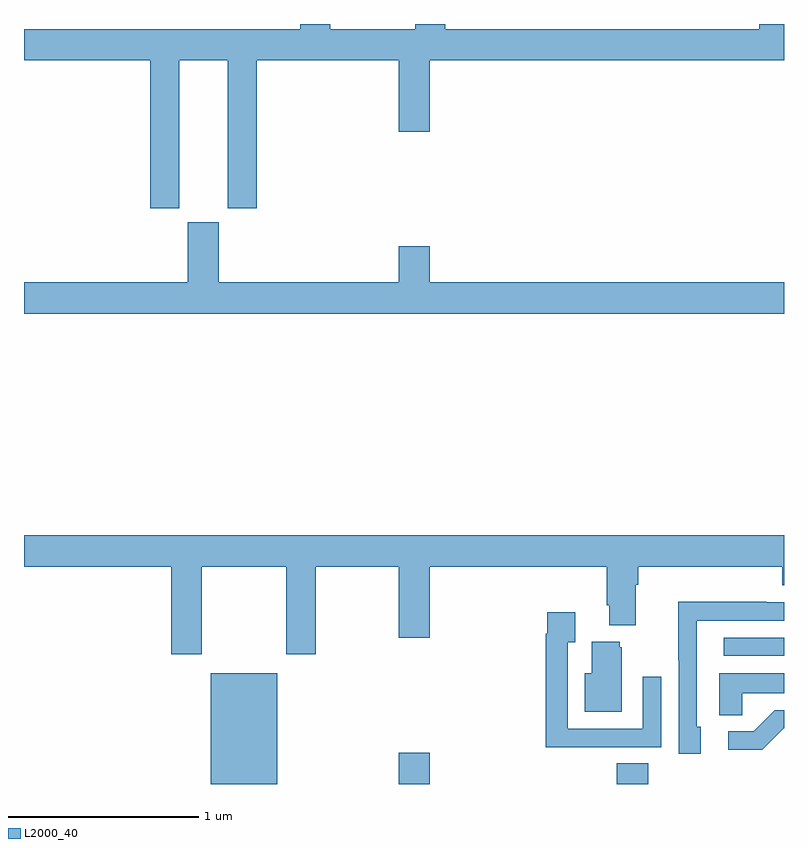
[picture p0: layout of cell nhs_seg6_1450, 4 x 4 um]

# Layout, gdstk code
import gdstk
lib = gdstk.Library(unit=1e-6, precision=1e-09)
def R(c, l, rs):  # rectangles x0, y0, x1, y1
    for r in rs: c.add(gdstk.rectangle(r[:2], r[2:], *l))
def P(c, l, *ps):  # polygons
    for p in ps: c.add(gdstk.Polygon(p, *l))
L2000_40 = (2000, 40)

nhs_seg6_1450 = lib.new_cell('nhs_seg6_1450')
R(nhs_seg6_1450, L2000_40, [(199.982,971.5,200.332,972.082), (200.972,971.5,201.136,971.665), (202.121,971.5,202.286,971.609), (202.683,972.174,203,972.27)])
P(nhs_seg6_1450, L2000_40, [(201.058,975.472),(200.613,975.472),(200.613,975.5),(200.453,975.5),(200.453,975.472),(199,975.472),(199,975.308),(199.664,975.308),(199.664,974.529),(199.816,974.529),(199.816,975.308),(200.072,975.308),(200.072,974.529),(200.225,974.529),(200.225,975.308),(200.972,975.308),(200.972,974.934),(201.136,974.934),(201.136,975.308),(203,975.308),(203,975.5),(202.871,975.5),(202.871,975.472),(201.218,975.472),(201.218,975.5),(201.058,975.5)],
  [(203,974.14),(201.136,974.14),(201.136,974.329),(200.972,974.329),(200.972,974.14),(200.026,974.14),(200.026,974.457),(199.862,974.457),(199.862,974.14),(199,974.14),(199,973.976),(203,973.976)],
  [(199.935,972.644),(200.38,972.644),(200.38,972.183),(200.535,972.183),(200.535,972.644),(200.972,972.644),(200.972,972.27),(201.136,972.27),(201.136,972.644),(202.067,972.644),(202.067,972.442),(202.079,972.442),(202.079,972.335),(202.219,972.335),(202.219,972.548),(202.232,972.548),(202.232,972.644),(202.991,972.644),(202.991,972.545),(203,972.545),(203,972.808),(199,972.808),(199,972.644),(199.775,972.644),(199.775,972.183),(199.935,972.183)],
  [(202.561,971.802),(202.542,971.802),(202.542,972.36),(203,972.36),(203,972.456),(202.907,972.456),(202.907,972.458),(202.444,972.458),(202.444,972.151),(202.446,972.151),(202.446,971.658),(202.561,971.658)],
  [(202.037,971.694),(202.353,971.694),(202.353,972.064),(202.257,972.064),(202.257,971.79),(201.861,971.79),(201.861,972.247),(201.901,972.247),(201.901,972.403),(201.753,972.403),(201.753,972.29),(201.745,972.29),(201.745,971.693),(202.037,971.693)],
  [(202.147,972.219),(202.136,972.219),(202.136,972.25),(201.989,972.25),(201.989,972.082),(201.95,972.082),(201.95,971.879),(202.147,971.879)],
  [(202.779,971.978),(203,971.978),(203,972.082),(202.658,972.082),(202.658,971.863),(202.779,971.863)],
  [(202.998,971.793),(203,971.793),(203,971.889),(202.952,971.889),(202.841,971.778),(202.707,971.778),(202.707,971.681),(202.885,971.681)])

lib.write_gds('nhs_seg6_1450.gds')
